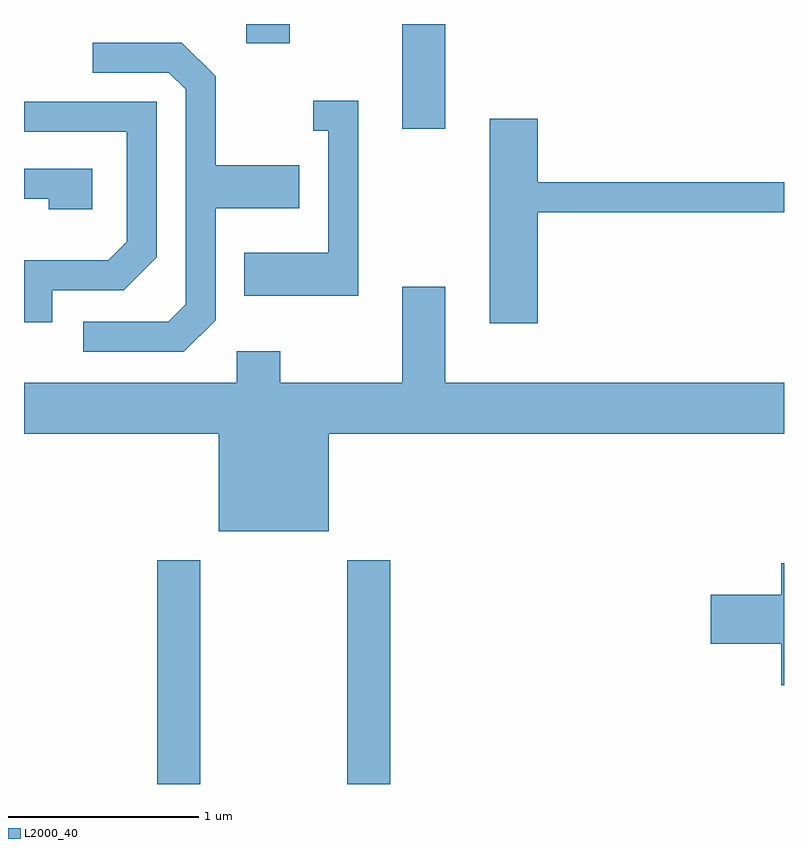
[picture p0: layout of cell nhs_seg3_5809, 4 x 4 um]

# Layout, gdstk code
import gdstk
lib = gdstk.Library(unit=1e-6, precision=1e-09)
def R(c, l, rs):  # rectangles x0, y0, x1, y1
    for r in rs: c.add(gdstk.rectangle(r[:2], r[2:], *l))
def P(c, l, *ps):  # polygons
    for p in ps: c.add(gdstk.Polygon(p, *l))
L2000_40 = (2000, 40)

nhs_seg3_5809 = lib.new_cell('nhs_seg3_5809')
R(nhs_seg3_5809, L2000_40, [(356.311,1181.892,356.539,1183.069), (357.311,1181.892,357.539,1183.069), (357.601,1185.341,357.829,1185.892), (356.781,1185.791,357.009,1185.892)])
P(nhs_seg3_5809, L2000_40, [(356.619,1184.334),(356.619,1184.921),(357.059,1184.921),(357.059,1185.149),(356.619,1185.149),(356.619,1185.617),(356.442,1185.794),(355.973,1185.794),(355.973,1185.636),(356.374,1185.636),(356.461,1185.549),(356.461,1184.417),(356.369,1184.324),(355.923,1184.324),(355.923,1184.166),(356.452,1184.166)],
  [(357.369,1185.489),(357.133,1185.489),(357.133,1185.331),(357.211,1185.331),(357.211,1184.689),(356.771,1184.689),(356.771,1184.461),(357.369,1184.461)],
  [(355.759,1184.491),(356.137,1184.491),(356.309,1184.664),(356.309,1185.484),(355.611,1185.484),(355.611,1185.326),(356.151,1185.326),(356.151,1184.747),(356.054,1184.649),(355.611,1184.649),(355.611,1184.321),(355.759,1184.321)],
  [(358.314,1184.901),(359.611,1184.901),(359.611,1185.059),(358.314,1185.059),(358.314,1185.394),(358.061,1185.394),(358.061,1184.316),(358.314,1184.316)],
  [(355.969,1185.129),(355.611,1185.129),(355.611,1184.971),(355.741,1184.971),(355.741,1184.916),(355.969,1184.916)],
  [(357.214,1183.736),(359.611,1183.736),(359.611,1184.004),(357.829,1184.004),(357.829,1184.509),(357.601,1184.509),(357.601,1184.004),(356.959,1184.004),(356.959,1184.169),(356.731,1184.169),(356.731,1184.004),(355.611,1184.004),(355.611,1183.736),(356.636,1183.736),(356.636,1183.221),(357.214,1183.221)],
  [(359.611,1183.054),(359.596,1183.054),(359.596,1182.889),(359.226,1182.889),(359.226,1182.631),(359.596,1182.631),(359.596,1182.411),(359.611,1182.411)])

lib.write_gds('nhs_seg3_5809.gds')
